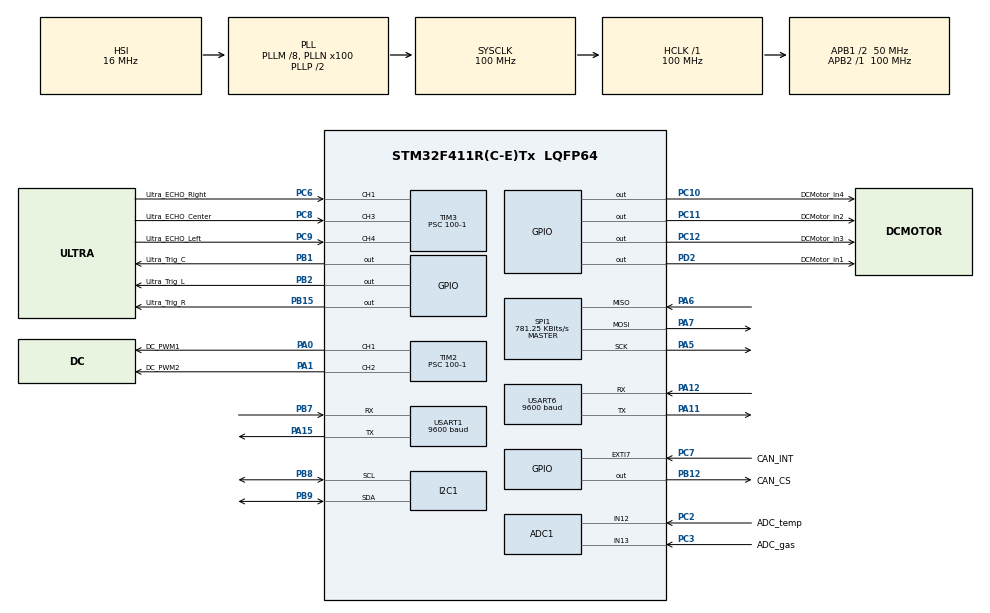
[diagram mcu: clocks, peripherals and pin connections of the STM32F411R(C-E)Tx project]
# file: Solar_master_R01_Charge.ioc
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ADC1.Channel-0\#ChannelRegularConversion=ADC_CHANNEL_12
ADC1.Channel-1\#ChannelRegularConversion=ADC_CHANNEL_13
ADC1.ContinuousConvMode=ENABLE
ADC1.DMAContinuousRequests=ENABLE
ADC1.DiscontinuousConvMode=DISABLE
ADC1.NbrOfConversion=2
ADC1.NbrOfConversionFlag=1
ADC1.Rank-0\#ChannelRegularConversion=1
ADC1.Rank-1\#ChannelRegularConversion=2
ADC1.SamplingTime-0\#ChannelRegularConversion=ADC_SAMPLETIME_144CYCLES
ADC1.SamplingTime-1\#ChannelRegularConversion=ADC_SAMPLETIME_144CYCLES
ADC1.master=1
Dma.ADC1.0.Direction=DMA_PERIPH_TO_MEMORY
Dma.ADC1.0.FIFOMode=DMA_FIFOMODE_DISABLE
Dma.ADC1.0.Instance=DMA2_Stream0
Dma.ADC1.0.MemDataAlignment=DMA_MDATAALIGN_HALFWORD
Dma.ADC1.0.MemInc=DMA_MINC_ENABLE
Dma.ADC1.0.Mode=DMA_CIRCULAR
Dma.ADC1.0.PeriphDataAlignment=DMA_PDATAALIGN_HALFWORD
Dma.ADC1.0.PeriphInc=DMA_PINC_DISABLE
Dma.ADC1.0.Priority=DMA_PRIORITY_LOW
Dma.I2C1_RX.1.Direction=DMA_PERIPH_TO_MEMORY
Dma.I2C1_RX.1.FIFOMode=DMA_FIFOMODE_DISABLE
Dma.I2C1_RX.1.Instance=DMA1_Stream0
Dma.I2C1_RX.1.MemDataAlignment=DMA_MDATAALIGN_BYTE
Dma.I2C1_RX.1.MemInc=DMA_MINC_ENABLE
Dma.I2C1_RX.1.Mode=DMA_NORMAL
Dma.I2C1_RX.1.PeriphDataAlignment=DMA_PDATAALIGN_BYTE
Dma.I2C1_RX.1.PeriphInc=DMA_PINC_DISABLE
Dma.I2C1_RX.1.Priority=DMA_PRIORITY_LOW
Dma.I2C1_TX.4.Direction=DMA_MEMORY_TO_PERIPH
Dma.I2C1_TX.4.FIFOMode=DMA_FIFOMODE_DISABLE
Dma.I2C1_TX.4.Instance=DMA1_Stream1
Dma.I2C1_TX.4.MemDataAlignment=DMA_MDATAALIGN_BYTE
Dma.I2C1_TX.4.MemInc=DMA_MINC_ENABLE
Dma.I2C1_TX.4.Mode=DMA_NORMAL
Dma.I2C1_TX.4.PeriphDataAlignment=DMA_PDATAALIGN_BYTE
Dma.I2C1_TX.4.PeriphInc=DMA_PINC_DISABLE
Dma.I2C1_TX.4.Priority=DMA_PRIORITY_LOW
Dma.Request0=ADC1
Dma.Request1=I2C1_RX
Dma.Request2=USART6_RX
Dma.Request3=USART6_TX
Dma.Request4=I2C1_TX
Dma.USART6_RX.2.Direction=DMA_PERIPH_TO_MEMORY
Dma.USART6_RX.2.FIFOMode=DMA_FIFOMODE_DISABLE
Dma.USART6_RX.2.Instance=DMA2_Stream1
Dma.USART6_RX.2.MemDataAlignment=DMA_MDATAALIGN_BYTE
Dma.USART6_RX.2.MemInc=DMA_MINC_ENABLE
Dma.USART6_RX.2.Mode=DMA_NORMAL
Dma.USART6_RX.2.PeriphDataAlignment=DMA_PDATAALIGN_BYTE
Dma.USART6_RX.2.PeriphInc=DMA_PINC_DISABLE
Dma.USART6_RX.2.Priority=DMA_PRIORITY_LOW
Dma.USART6_TX.3.Direction=DMA_MEMORY_TO_PERIPH
Dma.USART6_TX.3.FIFOMode=DMA_FIFOMODE_DISABLE
Dma.USART6_TX.3.Instance=DMA2_Stream6
Dma.USART6_TX.3.MemDataAlignment=DMA_MDATAALIGN_BYTE
Dma.USART6_TX.3.MemInc=DMA_MINC_ENABLE
Dma.USART6_TX.3.Mode=DMA_NORMAL
Dma.USART6_TX.3.PeriphDataAlignment=DMA_PDATAALIGN_BYTE
Dma.USART6_TX.3.PeriphInc=DMA_PINC_DISABLE
Dma.USART6_TX.3.Priority=DMA_PRIORITY_LOW
Mcu.Family=STM32F4
Mcu.Name=STM32F411R(C-E)Tx
Mcu.Package=LQFP64
NVIC.DMA1_Stream0_IRQn=true\:0\:0\:false\:false\:true\:false\:true\:true
NVIC.DMA1_Stream1_IRQn=true\:0\:0\:false\:false\:true\:false\:true\:true
NVIC.DMA2_Stream0_IRQn=true\:0\:0\:false\:false\:true\:false\:true\:true
NVIC.DMA2_Stream1_IRQn=true\:0\:0\:false\:false\:true\:false\:true\:true
NVIC.DMA2_Stream6_IRQn=true\:0\:0\:false\:false\:true\:false\:true\:true
NVIC.EXTI9_5_IRQn=true\:0\:0\:false\:false\:true\:true\:true\:true
NVIC.I2C1_ER_IRQn=true\:0\:0\:false\:false\:true\:true\:true\:true
NVIC.I2C1_EV_IRQn=true\:0\:0\:false\:false\:true\:true\:true\:true
NVIC.PriorityGroup=NVIC_PRIORITYGROUP_4
NVIC.SPI1_IRQn=true\:0\:0\:false\:false\:true\:true\:true\:true
NVIC.TIM3_IRQn=true\:0\:0\:false\:false\:true\:true\:true\:true
NVIC.USART1_IRQn=true\:0\:0\:false\:false\:true\:true\:true\:true
NVIC.USART6_IRQn=true\:0\:0\:false\:false\:true\:true\:true\:true
PA0-WKUP.GPIO_Label=DC_PWM1
PA0-WKUP.Signal=S_TIM2_CH1_ETR
PA1.GPIO_Label=DC_PWM2
PA1.Signal=S_TIM2_CH2
PA11.Mode=Asynchronous
PA11.Signal=USART6_TX
PA12.Mode=Asynchronous
PA12.Signal=USART6_RX
PA13.Mode=Serial_Wire
PA13.Signal=SYS_JTMS-SWDIO
PA14.Mode=Serial_Wire
PA14.Signal=SYS_JTCK-SWCLK
PA15.Mode=Asynchronous
PA15.Signal=USART1_TX
PA5.Mode=Full_Duplex_Master
PA5.Signal=SPI1_SCK
PA6.Mode=Full_Duplex_Master
PA6.Signal=SPI1_MISO
PA7.Mode=Full_Duplex_Master
PA7.Signal=SPI1_MOSI
PB1.GPIO_Label=Ultra_Trig_C
PB1.Signal=GPIO_Output
PB12.GPIO_Label=CAN_CS
PB12.PinState=GPIO_PIN_SET
PB12.Signal=GPIO_Output
PB15.GPIO_Label=Ultra_Trig_R
PB15.Signal=GPIO_Output
PB2.GPIO_Label=Ultra_Trig_L
PB2.Signal=GPIO_Output
PB7.Mode=Asynchronous
PB7.Signal=USART1_RX
PB8.Mode=I2C
PB8.Signal=I2C1_SCL
PB9.Mode=I2C
PB9.Signal=I2C1_SDA
PC10.GPIO_Label=DCMotor_in4
PC10.Signal=GPIO_Output
PC11.GPIO_Label=DCMotor_in2
PC11.Signal=GPIO_Output
PC12.GPIO_Label=DCMotor_in3
PC12.Signal=GPIO_Output
PC2.GPIO_Label=ADC_temp
PC2.Signal=ADCx_IN12
PC3.GPIO_Label=ADC_gas
PC3.Signal=ADCx_IN13
PC6.GPIO_Label=Ultra_ECHO_Right
PC6.Signal=S_TIM3_CH1
PC7.GPIO_Label=CAN_INT
PC7.GPIO_ModeDefaultEXTI=GPIO_MODE_IT_FALLING
PC7.GPIO_PuPd=GPIO_PULLUP
PC7.Signal=GPXTI7
PC8.GPIO_Label=Ultra_ECHO_Center
PC8.Signal=S_TIM3_CH3
PC9.GPIO_Label=Ultra_ECHO_Left
PC9.Signal=S_TIM3_CH4
PD2.GPIO_Label=DCMotor_in1
PD2.PinState=GPIO_PIN_RESET
PD2.Signal=GPIO_Output
ProjectManager.HeapSize=0x200
ProjectManager.StackSize=0x400
ProjectManager.TargetToolchain=STM32CubeIDE
RCC.48MHZClocksFreq_Value=50000000
RCC.AHBFreq_Value=100000000
RCC.APB1CLKDivider=RCC_HCLK_DIV2
RCC.APB1Freq_Value=50000000
RCC.APB1TimFreq_Value=100000000
RCC.APB2Freq_Value=100000000
RCC.APB2TimFreq_Value=100000000
RCC.CortexFreq_Value=100000000
RCC.HCLKFreq_Value=100000000
RCC.HSE_VALUE=25000000
RCC.HSI_VALUE=16000000
RCC.LSE_VALUE=32768
RCC.PLLM=8
RCC.PLLN=100
RCC.SYSCLKFreq_VALUE=100000000
RCC.SYSCLKSource=RCC_SYSCLKSOURCE_PLLCLK
RCC.VCOOutputFreq_Value=200000000
SH.ADCx_IN12.0=ADC1_IN12,IN12
SH.ADCx_IN13.0=ADC1_IN13,IN13
SH.S_TIM2_CH1_ETR.0=TIM2_CH1,PWM Generation1 CH1
SH.S_TIM2_CH2.0=TIM2_CH2,PWM Generation2 CH2
SH.S_TIM3_CH1.0=TIM3_CH1,Input_Capture1_from_TI1
SH.S_TIM3_CH3.0=TIM3_CH3,Input_Capture3_from_TI3
SH.S_TIM3_CH4.0=TIM3_CH4,Input_Capture4_from_TI4
SPI1.BaudRatePrescaler=SPI_BAUDRATEPRESCALER_128
SPI1.CalculateBaudRate=781.25 KBits/s
SPI1.Direction=SPI_DIRECTION_2LINES
SPI1.Mode=SPI_MODE_MASTER
SPI1.VirtualType=VM_MASTER
TIM11.Prescaler=100-1
TIM2.Channel-PWM\ Generation1\ CH1=TIM_CHANNEL_1
TIM2.Channel-PWM\ Generation2\ CH2=TIM_CHANNEL_2
TIM2.Period=1000-1
TIM2.Prescaler=100-1
TIM3.Channel-Input_Capture1_from_TI1=TIM_CHANNEL_1
TIM3.Channel-Input_Capture3_from_TI3=TIM_CHANNEL_3
TIM3.Channel-Input_Capture4_from_TI4=TIM_CHANNEL_4
TIM3.ICFilter_CH1=4
TIM3.ICFilter_CH3=4
TIM3.ICFilter_CH4=4
TIM3.Prescaler=100-1
USART1.BaudRate=9600
USART1.VirtualMode=VM_ASYNC
USART6.BaudRate=9600
USART6.VirtualMode=VM_ASYNC
VP_TIM11_VS_ClockSourceINT.Mode=Enable_Timer
board=custom

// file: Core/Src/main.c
/* USER CODE BEGIN Header */
/**
  ******************************************************************************
  * @file           : main.c
  * @brief          : Main program body
  ******************************************************************************
  * @attention
  *
  * Copyright (c) 2026 STMicroelectronics.
  * All rights reserved.
  *
  * This software is licensed under terms that can be found in the LICENSE file
  * in the root directory of this software component.
  * If no LICENSE file comes with this software, it is provided AS-IS.
  *
  ******************************************************************************
  */
/* USER CODE END Header */
#include "main.h"
#include "adc.h"
#include "dma.h"
#include "i2c.h"
#include "spi.h"
#include "tim.h"
#include "usart.h"
#include "gpio.h"

/* USER CODE BEGIN Includes */

// CAR
#include "car.h"
#include "direction.h"
#include "speed.h"
#include "delay.h"
#include "stdio.h"
#include "ultrasonic.h"
#include "statemachine.h"

// BMS
#include "bms_temp.h"
#include "bms_gas.h"
#include "bms_ina219.h"
#include "bms_message.h"

#include "app_bms.h"

// SPI
#include "can.h"

#include <stdio.h>

/* USER CODE END Includes */

/* USER CODE BEGIN PV */

volatile uint16_t adcValue[2] = {0U, 0U};

/* USER CODE END PV */

void SystemClock_Config(void);
/* USER CODE BEGIN PFP */

//static const char *Temp_StateStr(TEMP_STATE st);
//

/* USER CODE END PFP */

/* USER CODE BEGIN 0 */

/* =========================================================
 * HAL callback forwarding (SPI / GPIO / TIM)
 * ========================================================= */
void HAL_SPI_TxRxCpltCallback(SPI_HandleTypeDef *hspi)
{
    Can_SpiTxRxCpltCallback(hspi);
}

void HAL_SPI_ErrorCallback(SPI_HandleTypeDef *hspi)
{
    Can_SpiErrorCallback(hspi);
}

void HAL_GPIO_EXTI_Callback(uint16_t GPIO_Pin)
{
    Can_ExtiCallback(GPIO_Pin);
}

void HAL_TIM_PeriodElapsedCallback(TIM_HandleTypeDef *htim)
{
    if (htim->Instance == TIM11)
    {
        /* 필요 시 하위 모듈 tick 연결 */
    }
}

/* =========================================================
 * UART RX complete
 * ---------------------------------------------------------
 * UART1 : 기존 리모컨 / statemachine 경로
 * UART2 : moserial 입력 테스트 경로 (현재 비활성)
 * ========================================================= */
void HAL_UART_RxCpltCallback(UART_HandleTypeDef *huart)
{
    if (huart == NULL)
    {
        return;
    }

    /* UART1 기존 리모컨 경로 */
    STMACHINE_UartRxCpltCallback(huart);
}

void HAL_UART_TxCpltCallback(UART_HandleTypeDef *huart)
{
    BMS_MESSAGE_UartTxCpltCallback(huart);

    /* 다른 UART DMA 완료 처리 있으면 여기 계속 추가 */
}

void HAL_UART_ErrorCallback(UART_HandleTypeDef *huart)
{
    BMS_MESSAGE_UartErrorCallback(huart);

    /* 다른 UART 에러 처리 있으면 여기 계속 추가 */
}

void HAL_I2C_MemRxCpltCallback(I2C_HandleTypeDef *hi2c)
{
    INA219_BMS_I2C_MemRxCpltCallback(hi2c);
}

void HAL_I2C_MemTxCpltCallback(I2C_HandleTypeDef *hi2c)
{
    INA219_BMS_I2C_MemTxCpltCallback(hi2c);
}

void HAL_I2C_ErrorCallback(I2C_HandleTypeDef *hi2c)
{
    INA219_BMS_I2C_ErrorCallback(hi2c);
}

/* USER CODE END 0 */

int main(void)
{

  /* MCU Configuration--------------------------------------------------------*/

  /* Reset of all peripherals, Initializes the Flash interface and the Systick. */
  HAL_Init();

  /* Configure the system clock */
  SystemClock_Config();

  /* Initialize all configured peripherals */
  MX_GPIO_Init();
  MX_DMA_Init();
  MX_USART1_UART_Init();
  MX_TIM2_Init();
  MX_TIM3_Init();
  MX_TIM11_Init();
  MX_ADC1_Init();
  MX_I2C1_Init();
  MX_USART6_UART_Init();
  MX_SPI1_Init();
  /* USER CODE BEGIN 2 */

  /* ADC DMA는 app_bms init 전에 먼저 시작 */
  if (HAL_ADC_Start_DMA(&hadc1, (uint32_t *)adcValue, 2) != HAL_OK)
  {
      Error_Handler();
  }

  /* 기존 코드에서 TIM11 base start를 쓰고 있으니 일단 유지 */
  if (HAL_TIM_Base_Start(&htim11) != HAL_OK)
  {
      Error_Handler();
  }

  /* 상위 통합 app 초기화 */
  App_Bms_Init();

  Can_Init();

  /* USER CODE END 2 */

  /* Infinite loop */
  /* USER CODE BEGIN WHILE */
  while (1)
  {

	  App_Bms_Task();

	  Can_Task();

    /* USER CODE END WHILE */

  }
}

void SystemClock_Config(void)
{
  RCC_OscInitTypeDef RCC_OscInitStruct = {0};
  RCC_ClkInitTypeDef RCC_ClkInitStruct = {0};

  /** Configure the main internal regulator output voltage
  */
  __HAL_RCC_PWR_CLK_ENABLE();
  __HAL_PWR_VOLTAGESCALING_CONFIG(PWR_REGULATOR_VOLTAGE_SCALE1);

  /** Initializes the RCC Oscillators according to the specified parameters
  * in the RCC_OscInitTypeDef structure.
  */
  RCC_OscInitStruct.OscillatorType = RCC_OSCILLATORTYPE_HSI;
  RCC_OscInitStruct.HSIState = RCC_HSI_ON;
  RCC_OscInitStruct.HSICalibrationValue = RCC_HSICALIBRATION_DEFAULT;
  RCC_OscInitStruct.PLL.PLLState = RCC_PLL_ON;
  RCC_OscInitStruct.PLL.PLLSource = RCC_PLLSOURCE_HSI;
  RCC_OscInitStruct.PLL.PLLM = 8;
  RCC_OscInitStruct.PLL.PLLN = 100;
  RCC_OscInitStruct.PLL.PLLP = RCC_PLLP_DIV2;
  RCC_OscInitStruct.PLL.PLLQ = 4;
  if (HAL_RCC_OscConfig(&RCC_OscInitStruct) != HAL_OK)
  {
    Error_Handler();
  }

  /** Initializes the CPU, AHB and APB buses clocks
  */
  RCC_ClkInitStruct.ClockType = RCC_CLOCKTYPE_HCLK|RCC_CLOCKTYPE_SYSCLK
                              |RCC_CLOCKTYPE_PCLK1|RCC_CLOCKTYPE_PCLK2;
  RCC_ClkInitStruct.SYSCLKSource = RCC_SYSCLKSOURCE_PLLCLK;
  RCC_ClkInitStruct.AHBCLKDivider = RCC_SYSCLK_DIV1;
  RCC_ClkInitStruct.APB1CLKDivider = RCC_HCLK_DIV2;
  RCC_ClkInitStruct.APB2CLKDivider = RCC_HCLK_DIV1;

  if (HAL_RCC_ClockConfig(&RCC_ClkInitStruct, FLASH_LATENCY_3) != HAL_OK)
  {
    Error_Handler();
  }
}

void Error_Handler(void)
{
  __disable_irq();
  while (1)
  {
  }
}
